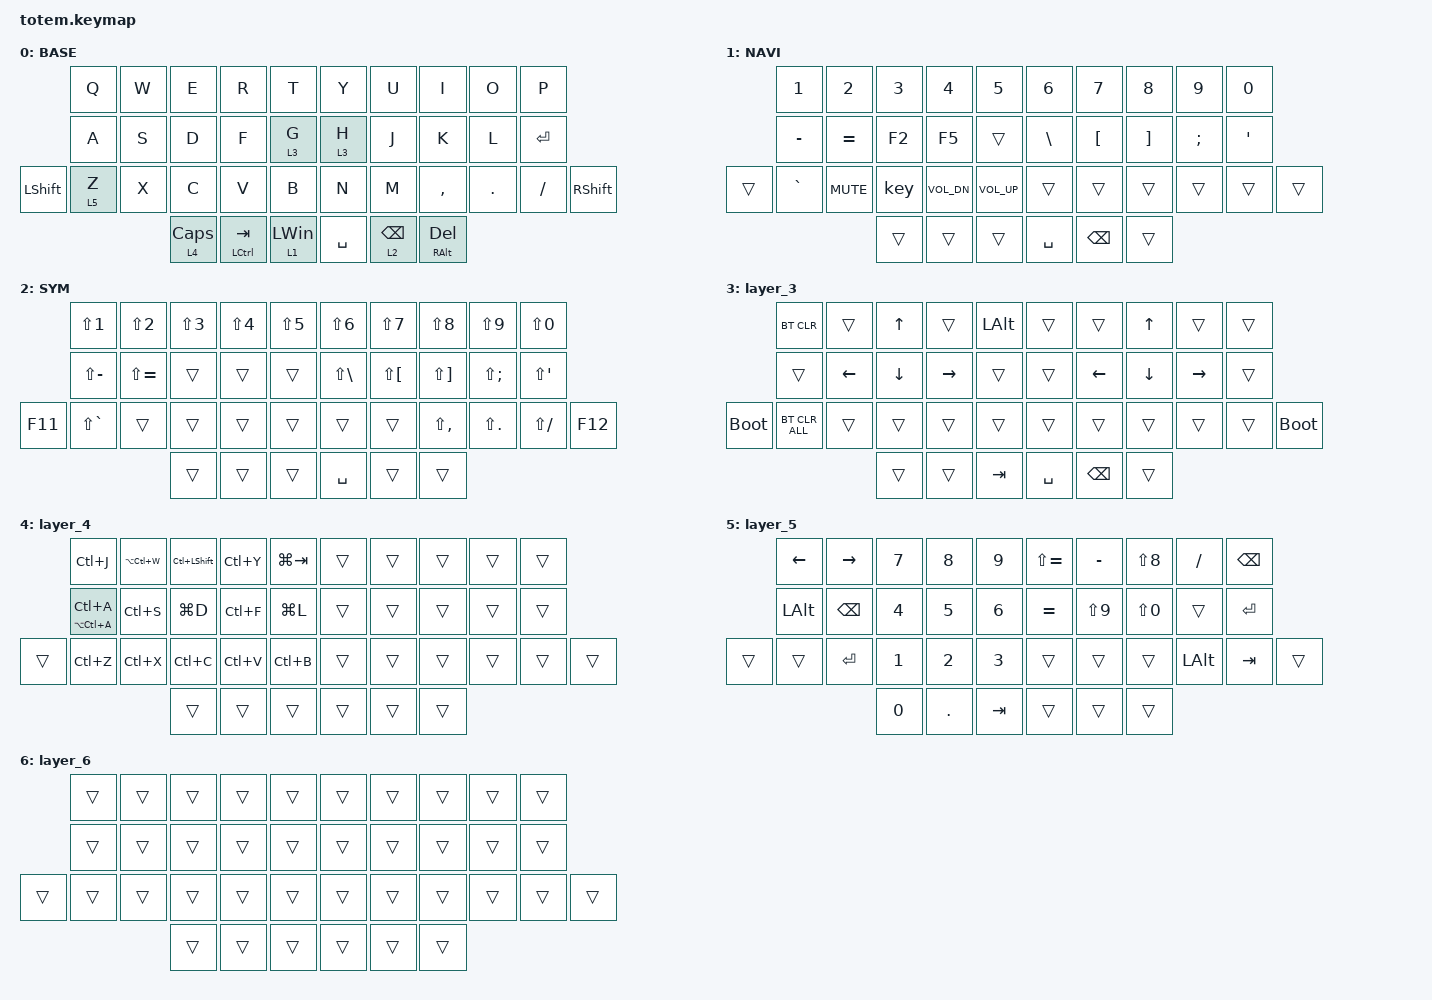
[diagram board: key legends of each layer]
//
//                                                        ▀▀▀▀▀     ▀▀▀▀▀          ▀▀█▀▀
//                                                        ▄▀▀▀▄  ▄  ▄▀▀▀▄  ▄  ▄▀▀▀▄  █  ▄▀▀▀▄
//                                                        █   █  █  █   █  █  █   █  █  █   █
//                                                         ▀▀▀   █   ▀▀▀   █   ▀▀▀   ▀   ▀▀▀
//                                                               █      ▄▄▄█▄▄▄    █   █  
//                                                               ▀      █  █  █     █▄█
//                                                             ▀▀▀▀▀    █  █  █      ▀
//                                                                      ▀  ▀  ▀
//
// ▄▄▄▄▄▄▄▄▄▄▄▄▄▄▄▄▄▄▄▄▄▄▄▄▄▄▄▄▄▄▄▄▄▄▄▄▄▄▄▄▄▄▄▄▄▄▄▄▄▄▄▄▄▄▄▄▄▄▄▄▄▄▄▄▄▄▄▄▄▄▄▄▄▄▄▄▄▄▄▄▄▄▄▄▄▄▄▄▄▄▄▄▄▄▄▄▄▄▄▄▄▄▄▄▄▄▄▄▄▄▄▄▄▄▄▄▄▄▄▄▄▄▄▄▄▄▄▄▄▄▄▄▄▄▄▄▄▄▄▄▄▄▄▄▄▄▄▄▄

#include <behaviors.dtsi>
#include <dt-bindings/zmk/bt.h>
#include <dt-bindings/zmk/keys.h>

#define BASE 0
#define NAV  1
#define SYM  2
#define ADJ  3
#define TVP1 4
#define TVP2 5

&mt {
    quick-tap-ms = <100>;
    global-quick-tap;
    flavor = "tap-preferred";
    tapping-term-ms = <170>;
};

/ {
    combos {
        compatible = "zmk,combos";

        esc {
            bindings = <&kp ESCAPE>;
            key-positions = <0 1>;
            timeout-ms = <120>;
        };

        del {
            bindings = <&kp DELETE>;
            key-positions = <10 11>;
            timeout-ms = <120>;
        };

        tab {
            bindings = <&kp TAB>;
            key-positions = <29 30>;
            timeout-ms = <120>;
        };

        caps {
            bindings = <&kp CAPS>;
            key-positions = <21 22>;
            timeout-ms = <120>;
        };

        ba {
            bindings = <&kp BACKSPACE>;
            key-positions = <8 9>;
            timeout-ms = <120>;
        };

        home {
            bindings = <&kp HOME>;
            key-positions = <2 3>;
        };

        end {
            bindings = <&kp END>;
            key-positions = <12 13>;
        };

        pu {
            bindings = <&kp PAGE_UP>;
            key-positions = <6 7>;
        };

        pd {
            bindings = <&kp PAGE_DOWN>;
            key-positions = <16 17>;
        };

        entter {
            bindings = <&kp ENTER>;
            key-positions = <18 19>;
        };
    };

    macros {
        key: new_macro {
            compatible = "zmk,behavior-macro";
            #binding-cells = <0>;
            bindings = <&kp LS(C) &kp H &kp L &kp DOT &kp N8 &kp N8 &kp N0 &kp N6 &kp N0 &kp N2 &kp EXCL &kp AT &kp POUND &kp DLLR &kp PRCNT &kp RET>;
            label = "NEW_MACRO";
        };
    };

    keymap {
        compatible = "zmk,keymap";

        // ▄▄▄▄▄▄▄▄▄▄▄▄▄▄▄▄▄▄▄▄▄▄▄▄▄▄▄▄▄▄▄▄▄▄▄▄▄▄▄▄▄▄▄▄▄▄▄▄▄▄▄▄▄▄▄▄▄▄▄▄▄▄▄▄▄▄▄▄▄▄▄▄▄▄▄▄▄▄▄▄▄▄▄▄▄▄▄▄▄▄▄▄▄▄▄▄▄▄▄▄▄▄▄▄▄▄▄▄▄▄▄▄▄▄▄▄▄▄▄▄▄▄▄▄▄▄▄▄▄▄▄▄▄▄▄▄▄▄▄▄▄▄▄▄▄▄▄▄▄

        base_layer {
            // ┏━━━━━━━━━━━━━━━━━━━━━━━━━━━━━━━━━━━━━━━┓

            label = "BASE";

            // ┗━━━━━━━━━━━━━━━━━━━━━━━━━━━━━━━━━━━━━━━┛
            //             ┏━━━━━━━━━━━┳━━━━━━━━━━━┳━━━━━━━━━━━┳━━━━━━━━━━━┳━━━━━━━━━━━┓   ┏━━━━━━━━━━━┳━━━━━━━━━━━┳━━━━━━━━━━━┳━━━━━━━━━━━┳━━━━━━━━━━━┓
            //             ┃     Q     ┃     W     ┃     F     ┃     P     ┃     G     ┃   ┃     J     ┃     L     ┃     U     ┃     Y     ┃     ;     ┃
            //             ┣━━━━━━━━━━━╋━━━━━━━━━━━╋━━━━━━━━━━━╋━━━━━━━━━━━╋━━━━━━━━━━━┫   ┣━━━━━━━━━━━╋━━━━━━━━━━━╋━━━━━━━━━━━╋━━━━━━━━━━━╋━━━━━━━━━━━┫
            //             ┃     A     ┃     R     ┃     S     ┃     T     ┃     D     ┃   ┃     H     ┃     N     ┃     E     ┃     I     ┃     O     ┃
            // ┏━━━━━━━━━━━╋━━━━━━━━━━━╋━━━━━━━━━━━╋━━━━━━━━━━━╋━━━━━━━━━━━╋━━━━━━━━━━━┫   ┣━━━━━━━━━━━╋━━━━━━━━━━━╋━━━━━━━━━━━╋━━━━━━━━━━━╋━━━━━━━━━━━╋━━━━━━━━━━━┓
            // ┃     Q     ┃     Z     ┃     X     ┃     C     ┃     V     ┃     B     ┃   ┃     K     ┃     M     ┃     ,     ┃     .     ┃     /     ┃     \     ┃
            // ┗━━━━━━━━━━━┻━━━━━━━━━━━┻━━━━━━━━━━━╋━━━━━━━━━━━╋━━━━━━━━━━━╋━━━━━━━━━━━┫   ┣━━━━━━━━━━━╋━━━━━━━━━━━╋━━━━━━━━━━━╋━━━━━━━━━━━┻━━━━━━━━━━━┻━━━━━━━━━━━┛
            //                                     ┃    DEL    ┃    TAB    ┃    SPC    ┃   ┃   ENTER   ┃           ┃   BSPC    ┃
            //                                     ┗━━━━━━━━━━━┻━━━━━━━━━━━┻━━━━━━━━━━━┛   ┗━━━━━━━━━━━┻━━━━━━━━━━━┻━━━━━━━━━━━┛

            bindings = <
           &kp Q    &kp W  &kp E           &kp R          &kp T             &kp Y      &kp U            &kp I                 &kp O    &kp P
           &kp A    &kp S  &kp D           &kp F          &lt 3 G           &lt 3 H    &kp J            &kp K                 &kp L    &kp RET
&kp LSHFT  &lt 5 Z  &kp X  &kp C           &kp V          &kp B             &kp N      &kp M            &kp COMMA             &kp DOT  &kp FSLH  &kp RSHFT
                           &lt 4 CAPSLOCK  &mt LCTRL TAB  &lt 1 LEFT_WIN    &kp SPACE  &lt 2 BACKSPACE  &mt RIGHT_ALT DELETE
            >;
        };

        // ▄▄▄▄▄▄▄▄▄▄▄▄▄▄▄▄▄▄▄▄▄▄▄▄▄▄▄▄▄▄▄▄▄▄▄▄▄▄▄▄▄▄▄▄▄▄▄▄▄▄▄▄▄▄▄▄▄▄▄▄▄▄▄▄▄▄▄▄▄▄▄▄▄▄▄▄▄▄▄▄▄▄▄▄▄▄▄▄▄▄▄▄▄▄▄▄▄▄▄▄▄▄▄▄▄▄▄▄▄▄▄▄▄▄▄▄▄▄▄▄▄▄▄▄▄▄▄▄▄▄▄▄▄▄▄▄▄▄▄▄▄▄▄▄▄▄▄▄▄

        nav_layer {
            // ┏━━━━━━━━━━━━━━━━━━━━━━━━━━━━━━━━━━━━━━━┓

            label = "NAVI";

            // ┗━━━━━━━━━━━━━━━━━━━━━━━━━━━━━━━━━━━━━━━┛
            //             ┏━━━━━━━━━━━┳━━━━━━━━━━━┳━━━━━━━━━━━┳━━━━━━━━━━━┳━━━━━━━━━━━┓   ┏━━━━━━━━━━━┳━━━━━━━━━━━┳━━━━━━━━━━━┳━━━━━━━━━━━┳━━━━━━━━━━━┓
            //             ┃           ┃           ┃     UP    ┃           ┃     {     ┃   ┃     }     ┃     7     ┃     8     ┃     9     ┃     +     ┃
            //             ┣━━━━━━━━━━━╋━━━━━━━━━━━╋━━━━━━━━━━━╋━━━━━━━━━━━╋━━━━━━━━━━━┫   ┣━━━━━━━━━━━╋━━━━━━━━━━━╋━━━━━━━━━━━╋━━━━━━━━━━━╋━━━━━━━━━━━┫
            //             ┃   SHIFT   ┃   LEFT    ┃    DOWN   ┃   RIGHT   ┃     [     ┃   ┃     ]     ┃     4     ┃     5     ┃     6     ┃     -     ┃
            // ┏━━━━━━━━━━━╋━━━━━━━━━━━╋━━━━━━━━━━━╋━━━━━━━━━━━╋━━━━━━━━━━━╋━━━━━━━━━━━┫   ┣━━━━━━━━━━━╋━━━━━━━━━━━╋━━━━━━━━━━━╋━━━━━━━━━━━╋━━━━━━━━━━━╋━━━━━━━━━━━┓
            // ┃           ┃           ┃   P UP    ┃  C LOCK   ┃  P DOWN   ┃     (     ┃   ┃     )     ┃     1     ┃     2     ┃     3     ┃     *     ┃           ┃
            // ┗━━━━━━━━━━━┻━━━━━━━━━━━┻━━━━━━━━━━━╋━━━━━━━━━━━╋━━━━━━━━━━━╋━━━━━━━━━━━┫   ┣━━━━━━━━━━━╋━━━━━━━━━━━╋━━━━━━━━━━━╋━━━━━━━━━━━┻━━━━━━━━━━━┻━━━━━━━━━━━┛
            //                                     ┃           ┃    TAB    ┃    SPC    ┃   ┃    DEL    ┃     0     ┃           ┃
            //                                     ┗━━━━━━━━━━━┻━━━━━━━━━━━┻━━━━━━━━━━━┛   ┗━━━━━━━━━━━┻━━━━━━━━━━━┻━━━━━━━━━━━┛

            bindings = <
        &kp N1     &kp N2      &kp N3  &kp N4        &kp N5             &kp N6     &kp N7    &kp N8    &kp N9    &kp N0
        &kp MINUS  &kp EQUAL   &kp F2  &kp F5        &trans             &kp BSLH   &kp LBKT  &kp RBKT  &kp SEMI  &kp APOS
&trans  &kp GRAVE  &kp C_MUTE  &key    &kp C_VOL_DN  &kp C_VOLUME_UP    &trans     &trans    &trans    &trans    &trans    &trans
                               &trans  &trans        &trans             &kp SPACE  &kp BSPC  &trans
            >;
        };

        // ▄▄▄▄▄▄▄▄▄▄▄▄▄▄▄▄▄▄▄▄▄▄▄▄▄▄▄▄▄▄▄▄▄▄▄▄▄▄▄▄▄▄▄▄▄▄▄▄▄▄▄▄▄▄▄▄▄▄▄▄▄▄▄▄▄▄▄▄▄▄▄▄▄▄▄▄▄▄▄▄▄▄▄▄▄▄▄▄▄▄▄▄▄▄▄▄▄▄▄▄▄▄▄▄▄▄▄▄▄▄▄▄▄▄▄▄▄▄▄▄▄▄▄▄▄▄▄▄▄▄▄▄▄▄▄▄▄▄▄▄▄▄▄▄▄▄▄▄▄

        sim_layer {
            // ┏━━━━━━━━━━━━━━━━━━━━━━━━━━━━━━━━━━━━━━━┓

            label = "SYM";

            // ┗━━━━━━━━━━━━━━━━━━━━━━━━━━━━━━━━━━━━━━━┛
            //             ┏━━━━━━━━━━━┳━━━━━━━━━━━┳━━━━━━━━━━━┳━━━━━━━━━━━┳━━━━━━━━━━━┓   ┏━━━━━━━━━━━┳━━━━━━━━━━━┳━━━━━━━━━━━┳━━━━━━━━━━━┳━━━━━━━━━━━┓
            //             ┃     !     ┃     @     ┃     #     ┃     $     ┃     %     ┃   ┃     ˆ     ┃     &     ┃     Ü     ┃     '     ┃     "     ┃
            //             ┣━━━━━━━━━━━╋━━━━━━━━━━━╋━━━━━━━━━━━╋━━━━━━━━━━━╋━━━━━━━━━━━┫   ┣━━━━━━━━━━━╋━━━━━━━━━━━╋━━━━━━━━━━━╋━━━━━━━━━━━╋━━━━━━━━━━━┫
            //             ┃     Ä     ┃           ┃    SZ     ┃           ┃           ┃   ┃   MUTE    ┃   YEN     ┃   EURO    ┃  POUND    ┃     Ö     ┃
            // ┏━━━━━━━━━━━╋━━━━━━━━━━━╋━━━━━━━━━━━╋━━━━━━━━━━━╋━━━━━━━━━━━╋━━━━━━━━━━━┫   ┣━━━━━━━━━━━╋━━━━━━━━━━━╋━━━━━━━━━━━╋━━━━━━━━━━━╋━━━━━━━━━━━╋━━━━━━━━━━━┓
            // ┃           ┃  EMAIL1   ┃  EMAIL2   ┃           ┃           ┃           ┃   ┃   VOL-    ┃   VOL+    ┃   LAST    ┃   NEXT    ┃     \     ┃           ┃
            // ┗━━━━━━━━━━━┻━━━━━━━━━━━┻━━━━━━━━━━━╋━━━━━━━━━━━╋━━━━━━━━━━━╋━━━━━━━━━━━┫   ┣━━━━━━━━━━━╋━━━━━━━━━━━╋━━━━━━━━━━━╋━━━━━━━━━━━┻━━━━━━━━━━━┻━━━━━━━━━━━┛
            //                                     ┃           ┃    GIF    ┃    ADJ    ┃   ┃           ┃           ┃           ┃
            //                                     ┗━━━━━━━━━━━┻━━━━━━━━━━━┻━━━━━━━━━━━┛   ┗━━━━━━━━━━━┻━━━━━━━━━━━┻━━━━━━━━━━━┛

            bindings = <
         &kp LS(NUMBER_1)  &kp LS(NUMBER_2)  &kp LS(NUMBER_3)  &kp LS(NUMBER_4)  &kp LS(N5)    &kp LS(N6)    &kp LS(N7)    &kp LS(N8)     &kp LS(N9)    &kp LS(N0)
         &kp LS(MINUS)     &kp LS(EQUAL)     &trans            &trans            &trans        &kp LS(BSLH)  &kp LS(LBKT)  &kp LS(RBKT)   &kp LS(SEMI)  &kp LS(APOS)
&kp F11  &kp LS(GRAVE)     &trans            &trans            &trans            &trans        &trans        &trans        &kp LS(COMMA)  &kp LS(DOT)   &kp LS(FSLH)  &kp F12
                                             &trans            &trans            &trans        &kp SPACE     &trans        &trans
            >;
        };

        // ▄▄▄▄▄▄▄▄▄▄▄▄▄▄▄▄▄▄▄▄▄▄▄▄▄▄▄▄▄▄▄▄▄▄▄▄▄▄▄▄▄▄▄▄▄▄▄▄▄▄▄▄▄▄▄▄▄▄▄▄▄▄▄▄▄▄▄▄▄▄▄▄▄▄▄▄▄▄▄▄▄▄▄▄▄▄▄▄▄▄▄▄▄▄▄▄▄▄▄▄▄▄▄▄▄▄▄▄▄▄▄▄▄▄▄▄▄▄▄▄▄▄▄▄▄▄▄▄▄▄▄▄▄▄▄▄▄▄▄▄▄▄▄▄▄▄▄▄▄

        layer_3 {
            bindings = <
             &bt BT_CLR      &trans    &kp UP_ARROW  &trans     &kp LALT    &trans     &trans    &kp UP_ARROW  &trans     &trans
             &trans          &kp LEFT  &kp DOWN      &kp RIGHT  &trans      &trans     &kp LEFT  &kp DOWN      &kp RIGHT  &trans
&bootloader  &bt BT_CLR_ALL  &trans    &trans        &trans     &trans      &trans     &trans    &trans        &trans     &trans  &bootloader
                                       &trans        &trans     &kp TAB     &kp SPACE  &kp BSPC  &trans
            >;
        };

        layer_4 {
            bindings = <
        &kp LC(J)            &kp LA(LC(W))  &kp LC(LEFT_SHIFT)  &kp LC(Y)  &kp LG(TAB)    &trans  &trans  &trans  &trans  &trans
        &mt LA(LC(A)) LC(A)  &kp LC(S)      &kp LG(D)           &kp LC(F)  &kp LG(L)      &trans  &trans  &trans  &trans  &trans
&trans  &kp LC(Z)            &kp LC(X)      &kp LC(C)           &kp LC(V)  &kp LC(B)      &trans  &trans  &trans  &trans  &trans  &trans
                                            &trans              &trans     &trans         &trans  &trans  &trans
            >;
        };

        layer_5 {
            bindings = <
        &kp LEFT  &kp RIGHT      &kp N7  &kp N8   &kp N9     &kp LS(EQUAL)  &kp MINUS   &kp LS(N8)  &kp FSLH  &kp BSPC
        &kp LALT  &kp BACKSPACE  &kp N4  &kp N5   &kp N6     &kp EQUAL      &kp LS(N9)  &kp LS(N0)  &trans    &kp ENTER
&trans  &trans    &kp ENTER      &kp N1  &kp N2   &kp N3     &trans         &trans      &trans      &kp LALT  &kp TAB    &trans
                                 &kp N0  &kp DOT  &kp TAB    &trans         &trans      &trans
            >;
        };

        layer_6 {
            bindings = <
        &trans  &trans  &trans  &trans  &trans    &trans  &trans  &trans  &trans  &trans
        &trans  &trans  &trans  &trans  &trans    &trans  &trans  &trans  &trans  &trans
&trans  &trans  &trans  &trans  &trans  &trans    &trans  &trans  &trans  &trans  &trans  &trans
                        &trans  &trans  &trans    &trans  &trans  &trans
            >;
        };

        // ▄▄▄▄▄▄▄▄▄▄▄▄▄▄▄▄▄▄▄▄▄▄▄▄▄▄▄▄▄▄▄▄▄▄▄▄▄▄▄▄▄▄▄▄▄▄▄▄▄▄▄▄▄▄▄▄▄▄▄▄▄▄▄▄▄▄▄▄▄▄▄▄▄▄▄▄▄▄▄▄▄▄▄▄▄▄▄▄▄▄▄▄▄▄▄▄▄▄▄▄▄▄▄▄▄▄▄▄▄▄▄▄▄▄▄▄▄▄▄▄▄▄▄▄▄▄▄▄▄▄▄▄▄▄▄▄▄▄▄▄▄▄▄▄▄▄▄▄▄
        // ▄▄▄▄▄▄▄▄▄▄▄▄▄▄▄▄▄▄▄▄▄▄▄▄▄▄▄▄▄▄▄▄▄▄▄▄▄▄▄▄▄▄▄▄▄▄▄▄▄▄▄▄▄▄▄▄▄▄▄▄▄▄▄▄▄▄▄▄▄▄▄▄▄▄▄▄▄▄▄▄▄▄▄▄▄▄▄▄▄▄▄▄▄▄▄▄▄▄▄▄▄▄▄▄▄▄▄▄▄▄▄▄▄▄▄▄▄▄▄▄▄▄▄▄▄▄▄▄▄▄▄▄▄▄▄▄▄▄▄▄▄▄▄▄▄▄▄▄▄
    };
};
